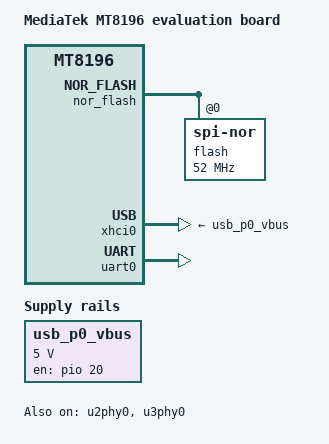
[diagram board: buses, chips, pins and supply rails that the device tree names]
// SPDX-License-Identifier: (GPL-2.0 OR MIT)
/*
 * Copyright (C) 2021 MediaTek Inc.
 * Author: Seiya Wang <seiya.wang@mediatek.com>
 */
/dts-v1/;
#include "mt8196.dtsi"
#include <dt-bindings/gpio/gpio.h>

/ {
	model = "MediaTek MT8196 evaluation board";
	compatible = "mediatek,mt8196-evb", "mediatek,mt8196";

	/* chosen */
	chosen: chosen {
		stdout-path = "serial0:115200n8";
	};

	usb_p0_vbus: regulator@0 {
		compatible = "regulator-fixed";
		regulator-name = "vbus";
		regulator-min-microvolt = <5000000>;
		regulator-max-microvolt = <5000000>;
		gpio = <&pio 20 GPIO_ACTIVE_HIGH>;
		enable-active-high;
	};
};

&nor_flash {
	pinctrl-names = "default";
	pinctrl-0 = <&nor_pins_default>;
	#address-cells = <1>;
	#size-cells = <0>;
	status = "okay";

	flash@0 {
		compatible = "jedec,spi-nor";
		reg = <0>;
		spi-max-frequency = <52000000>;
	};
};

&pio {
	nor_pins_default: nor-default-pins {
		pins0 {
			pinmux = <PINMUX_GPIO102__FUNC_SF_CK>;
			bias-pull-down = <MTK_PULL_SET_RSEL_000>;
			mediatek,drive-strength-adv = <0>;
			drive-strength = <14>;
		};

		pins1 {
			pinmux = <PINMUX_GPIO101__FUNC_SF_CS>;
			bias-pull-up = <MTK_PULL_SET_RSEL_000>;
			mediatek,drive-strength-adv = <0>;
			drive-strength = <14>;
		};

		pins2 {
			pinmux = <PINMUX_GPIO91__FUNC_SF_D0>,
				 <PINMUX_GPIO92__FUNC_SF_D1>;
			bias-pull-down;
			drive-strength = <14>;
		};
	};

	xhci0_pins_default: xhci0-default-pins {
		pins-cmd-dat {
			pinmux = <PINMUX_GPIO72__FUNC_GPIO72>;
			output-high;
		};
	};
};

&xhci0 {
	pinctrl-names = "default";
	pinctrl-0 = <&xhci0_pins_default>;
	vbus-supply = <&usb_p0_vbus>;
	status = "okay";
};

&u2phy0 {
	status = "okay";
};

&u3phy0 {
	status = "okay";
};

&uart0 {
	status = "okay";
};
